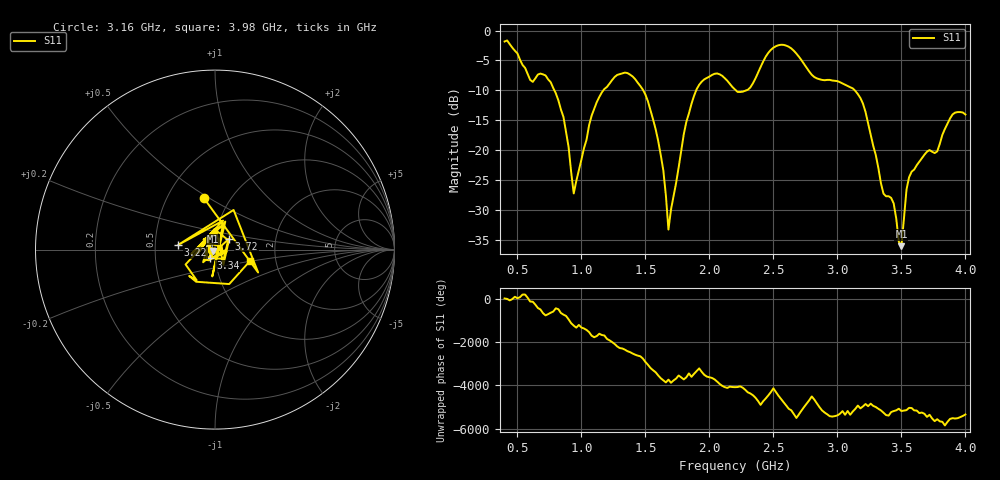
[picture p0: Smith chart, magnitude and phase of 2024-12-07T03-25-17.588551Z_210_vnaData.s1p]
!Created with skrf (http://scikit-rf.org).
# Hz S RI R 50.0
!freq ReS11 ImS11
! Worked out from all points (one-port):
!   181 points, 400 MHz to 4 GHz, reference 50 ohm
!   lowest |S11| = -36.1 dB at 3.5 GHz (marker M1), VSWR 1.03, Z = 48.7 - j0.764 ohm
!   |S11| at or under -10 dB: 788.5 MHz to 1.172 GHz (383.4 MHz wide, 39.1 % of centre); 1.483 GHz to 1.897 GHz (414.2 MHz wide, 24.5 % of centre); 3.135 GHz to end of sweep (the widest 3 of 4)
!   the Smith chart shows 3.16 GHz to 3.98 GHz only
!   S11 on the Smith chart (normalised r, x): 3.16 GHz: 0.76, +0.47; 3.22 GHz: 0.66, +0.04; 3.34 GHz: 0.95, -0.09; 3.72 GHz: 1.16, +0.14; 3.98 GHz: 1.48, -0.19
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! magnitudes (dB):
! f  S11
! 400 MHz  -1.8
! 600 MHz  -8.3
! 720 MHz  -7.5
! 860 MHz  -14.5
! 940 MHz  -27.3
! 1.12 GHz  -12.0
! 1.3 GHz  -7.3
! 1.52 GHz  -11.9
! 1.64 GHz  -23.4
! 1.68 GHz  -33.3
! 1.76 GHz  -22.9
! 1.82 GHz  -15.3
! 1.92 GHz  -9.1
! 2.06 GHz  -7.2
! 2.2 GHz  -9.9
! 2.32 GHz  -9.5
! 2.5 GHz  -2.9
! 2.66 GHz  -3.4
! 3.1 GHz  -9.5
! 3.16 GHz  -10.7
! 3.22 GHz  -13.7
! 3.34 GHz  -25.6
! 3.44 GHz  -29.0
! 3.5 GHz  -36.1
! 3.56 GHz  -24.6
! 3.72 GHz  -20.0
! 3.98 GHz  -13.7
! 4 GHz  -14.1
